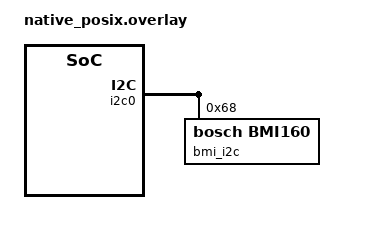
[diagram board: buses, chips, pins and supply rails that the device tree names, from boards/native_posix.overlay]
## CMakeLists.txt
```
# SPDX-License-Identifier: Apache-2.0

cmake_minimum_required(VERSION 3.20.0)

find_package(Zephyr REQUIRED HINTS $ENV{ZEPHYR_BASE})
project(accelerometer_chart)

FILE(GLOB app_sources src/*.c)
target_sources(app PRIVATE ${app_sources})
```

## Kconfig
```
# Copyright (c) 2023 Benjamin Cabé <benjamin@zephyrproject.org>
# SPDX-License-Identifier: Apache-2.0

config SAMPLE_CHART_POINTS_PER_SERIES
	int "Number of points per series"
	default 50
	range 10 200
	help
	  Maximum number of points per series in the accelerometer chart.
	  Warning: More points means more memory usage, and slower rendering!

config SAMPLE_ACCEL_SAMPLING_RATE
	int "Accelerometer sampling rate (Hz)"
	default 50
	range 1 100

source "Kconfig.zephyr"
```

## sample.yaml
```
sample:
  description: Real-time visualization of acceleration data using LVGL chart widget
  name: LVGL acceleration chart
tests:
  sample.modules.lvgl.accelerometer_chart:
    filter: dt_chosen_enabled("zephyr,display") and dt_alias_exists("accel0")
    min_flash: 250
    min_ram: 32
    harness: none
    tags:
      - samples
      - display
      - gui
      - lvgl
    modules:
      - lvgl
    integration_platforms:
      - native_sim/native/64
```

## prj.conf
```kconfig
CONFIG_MAIN_STACK_SIZE=4096
CONFIG_LOG=y

CONFIG_LVGL=y
CONFIG_LV_Z_MEM_POOL_SIZE=16384

CONFIG_DISPLAY=y
CONFIG_INPUT=y
CONFIG_SENSOR=y
CONFIG_EMUL=y
```

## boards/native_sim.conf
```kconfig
CONFIG_BMI160_TRIGGER_NONE=y
```

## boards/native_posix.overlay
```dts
/* Copyright (c) 2023 Benjamin Cabé <benjamin@zephyrproject.org>
 * SPDX-License-Identifier: Apache-2.0
 */

/ {
	aliases {
		accel0 = &bmi_i2c;
	};
};

&i2c0 {
	bmi_i2c: bmi@68 {
		compatible = "bosch,bmi160";
		reg = <0x68>;
	};
};
```

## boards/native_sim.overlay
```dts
#include "native_posix.overlay"
```

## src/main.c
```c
/*
 * Copyright (c) 2023 Benjamin Cabé <benjamin@zephyrproject.org>
 *
 * SPDX-License-Identifier: Apache-2.0
 */

#include <zephyr/device.h>
#include <zephyr/devicetree.h>
#include <zephyr/drivers/display.h>
#include <zephyr/drivers/sensor.h>

#include <lvgl.h>
#include <stdio.h>
#include <string.h>
#include <zephyr/kernel.h>

#include <zephyr/logging/log.h>
LOG_MODULE_REGISTER(app, CONFIG_LOG_DEFAULT_LEVEL);

static lv_obj_t *chart1;
static lv_chart_series_t *ser_x;
static lv_chart_series_t *ser_y;
static lv_chart_series_t *ser_z;
static lv_timer_t *sensor_timer;

const struct device *accel_sensor;

/* Timer handler: fetches sensor data and appends it to the chart */
static void sensor_timer_cb(lv_timer_t *timer)
{
	struct sensor_value accel[3];
	int rc = sensor_sample_fetch(accel_sensor);

	if (rc == 0) {
		rc = sensor_channel_get(accel_sensor, SENSOR_CHAN_ACCEL_XYZ, accel);
	}
	if (rc < 0) {
		LOG_ERR("ERROR: Update failed: %d\n", rc);
		return;
	}
	lv_chart_set_next_value(chart1, ser_x, sensor_value_to_double(&accel[0]));
	lv_chart_set_next_value(chart1, ser_y, sensor_value_to_double(&accel[1]));
	lv_chart_set_next_value(chart1, ser_z, sensor_value_to_double(&accel[2]));
}

static void create_accelerometer_chart(lv_obj_t *parent)
{
	chart1 = lv_chart_create(parent);
	lv_obj_set_size(chart1, LV_HOR_RES, LV_VER_RES);
	lv_chart_set_type(chart1, LV_CHART_TYPE_LINE);
	lv_chart_set_div_line_count(chart1, 5, 8);
	lv_chart_set_range(chart1, LV_CHART_AXIS_PRIMARY_Y, -20, 20); /* roughly -/+ 2G */
	lv_chart_set_update_mode(chart1, LV_CHART_UPDATE_MODE_SHIFT);

	ser_x = lv_chart_add_series(chart1, lv_palette_main(LV_PALETTE_RED),
				    LV_CHART_AXIS_PRIMARY_Y);
	ser_y = lv_chart_add_series(chart1, lv_palette_main(LV_PALETTE_BLUE),
				    LV_CHART_AXIS_PRIMARY_Y);
	ser_z = lv_chart_add_series(chart1, lv_palette_main(LV_PALETTE_GREEN),
				    LV_CHART_AXIS_PRIMARY_Y);

	lv_chart_set_point_count(chart1, CONFIG_SAMPLE_CHART_POINTS_PER_SERIES);

	/* Do not display point markers on the data */
	lv_obj_set_style_size(chart1, 0, LV_PART_INDICATOR);
}

int main(void)
{
	const struct device *display_dev;

	display_dev = DEVICE_DT_GET(DT_CHOSEN(zephyr_display));
	if (!device_is_ready(display_dev)) {
		LOG_ERR("Device not ready, aborting test");
		return -ENODEV;
	}

	accel_sensor = DEVICE_DT_GET(DT_ALIAS(accel0));
	if (!device_is_ready(accel_sensor)) {
		LOG_ERR("Device %s is not ready\n", accel_sensor->name);
		return -ENODEV;
	}

	create_accelerometer_chart(lv_scr_act());
	sensor_timer = lv_timer_create(sensor_timer_cb,
					1000 / CONFIG_SAMPLE_ACCEL_SAMPLING_RATE,
					NULL);
	lv_task_handler();
	display_blanking_off(display_dev);

	while (1) {
		k_msleep(lv_task_handler());
	}

	return 0;
}
```
